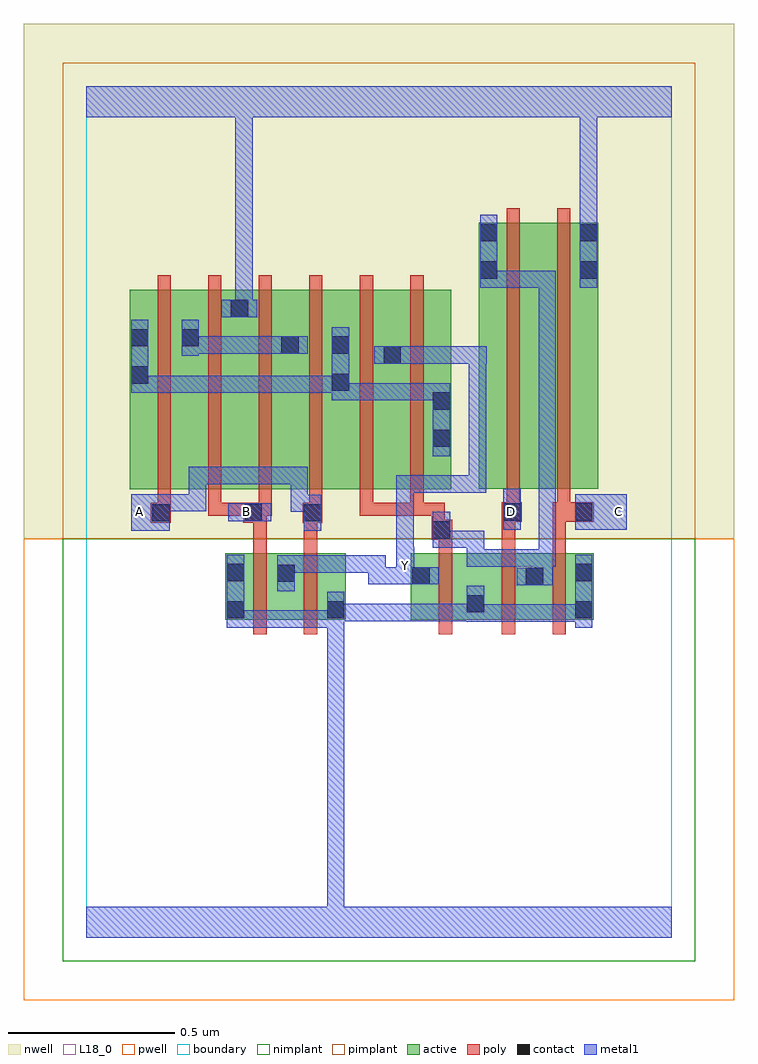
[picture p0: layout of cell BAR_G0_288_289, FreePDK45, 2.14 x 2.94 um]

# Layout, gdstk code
import gdstk
lib = gdstk.Library(unit=1e-6, precision=1e-09)
def R(c, l, rs):  # rectangles x0, y0, x1, y1
    for r in rs: c.add(gdstk.rectangle(r[:2], r[2:], *l))
def A(c, l, x, y, w, h, nx, ny, dx, dy):  # array of equal rectangles
    R(c, l, [(x+i*dx, y+j*dy, x+i*dx+w, y+j*dy+h) for i in range(nx) for j in range(ny)])
active = (1, 0)
pwell = (2, 0)
nwell = (3, 0)
nimplant = (4, 0)
pimplant = (5, 0)
poly = (9, 0)
contact = (10, 0)
metal1 = (11, 0)
L18_0 = (18, 0)
boundary = (235, 0)

bar_g0_288_289 = lib.new_cell('BAR_G0_288_289')
R(bar_g0_288_289, active, [(0.418,0.956,0.478,1.156), (0.418,0.956,0.63,1.156), (0.57,0.956,0.78,1.156), (0.57,0.956,0.63,1.126), (0.72,0.956,0.78,1.156), (0.976,0.956,1.036,1.156), (0.976,0.956,1.2,1.156), (1.14,0.956,1.2,1.156), (1.14,0.956,1.378,1.156), (1.318,0.956,1.378,1.156), (1.318,0.956,1.526,1.156), (1.466,0.956,1.526,1.156), (0.13,1.348,0.342,1.948), (0.13,1.348,0.19,1.948), (0.282,1.348,0.342,1.844), (0.282,1.348,0.49,1.948), (0.43,1.348,0.642,1.948), (0.582,1.348,0.794,1.948), (0.734,1.348,0.95,1.948), (0.89,1.348,0.95,1.844), (0.89,1.348,1.098,1.948), (1.038,1.348,1.098,1.844), (1.18,1.35,1.36,2.15), (1.36,1.35,1.54,2.15), (1.48,1.35,1.54,2.15), (0.734,1.468,0.794,1.948), (0.582,1.58,0.642,1.904), (0.43,1.59,0.49,1.948), (1.18,1.686,1.24,2.15)])
R(bar_g0_288_289, pwell, [(-0.188,-0.188,1.948,1.2)])
R(bar_g0_288_289, nwell, [(-0.188,1.2,1.948,2.748)])
R(bar_g0_288_289, nimplant, [(-0.072,-0.072,1.832,1.2)])
R(bar_g0_288_289, pimplant, [(-0.072,1.2,1.832,2.632)])
A(bar_g0_288_289, poly, 0.214, 1.268, 0.04, 0.076, 6, 1, 0.152, 0)
A(bar_g0_288_289, poly, 0.214, 1.304, 0.04, 0.688, 6, 1, 0.152, 0)
R(bar_g0_288_289, poly, [(0.502,0.912,0.542,1.2), (0.654,0.912,0.694,1.2), (1.06,0.912,1.1,1.2), (1.25,0.912,1.29,1.2), (1.402,0.912,1.442,1.2), (0.502,1.16,0.542,1.288), (0.654,1.16,0.694,1.288), (1.06,1.16,1.1,1.236), (1.25,1.16,1.29,1.29), (1.402,1.16,1.442,1.29), (1.038,1.196,1.1,1.256), (1.038,1.216,1.078,1.308), (0.194,1.248,0.254,1.308), (0.472,1.248,0.542,1.308), (0.65,1.248,0.71,1.308), (0.654,1.248,0.694,1.288), (0.654,1.248,0.694,1.288), (1.25,1.25,1.29,1.29), (1.25,1.25,1.29,1.29), (1.25,1.25,1.31,1.31), (1.402,1.25,1.526,1.31), (0.366,1.268,0.406,1.308), (0.366,1.268,0.538,1.308), (0.498,1.268,0.538,1.308), (0.498,1.268,0.538,1.308), (0.498,1.268,0.558,1.308), (0.502,1.268,0.542,1.308), (0.822,1.268,0.862,1.308), (0.822,1.268,1.014,1.308), (0.974,1.268,1.014,1.308), (0.974,1.268,1.014,1.308), (0.974,1.268,1.078,1.308), (1.264,1.27,1.304,1.346), (1.416,1.27,1.456,1.346), (1.416,1.27,1.456,1.31), (1.416,1.27,1.456,1.31), (1.264,1.306,1.304,2.194), (1.416,1.306,1.456,2.194)])
R(bar_g0_288_289, contact, [(0.422,0.96,0.474,1.012), (0.724,0.96,0.776,1.012), (1.47,0.96,1.522,1.012), (1.144,0.978,1.196,1.03), (1.322,1.06,1.374,1.112), (0.98,1.062,1.032,1.114), (0.574,1.07,0.626,1.122), (0.422,1.072,0.474,1.124), (1.47,1.072,1.522,1.124), (1.042,1.2,1.094,1.252), (0.198,1.252,0.25,1.304), (0.476,1.252,0.528,1.304), (0.654,1.252,0.706,1.304), (1.254,1.254,1.306,1.306), (1.47,1.254,1.522,1.306), (1.042,1.476,1.094,1.528), (1.042,1.588,1.094,1.64), (0.738,1.644,0.79,1.696), (0.134,1.666,0.186,1.718), (0.894,1.726,0.946,1.778), (0.586,1.756,0.638,1.808), (0.738,1.756,0.79,1.808), (0.134,1.778,0.186,1.83), (0.286,1.778,0.338,1.83), (0.434,1.866,0.486,1.918), (1.184,1.982,1.236,2.034), (1.484,1.982,1.536,2.034), (1.184,2.094,1.236,2.146), (1.484,2.094,1.536,2.146)])
R(bar_g0_288_289, metal1, [(0,0,1.76,0.092), (0.724,0.04,0.776,0.092), (0.724,0.04,0.776,0.092), (0.724,0.04,0.776,0.092), (0.724,0.04,0.776,0.092), (0.724,0.04,0.776,0.092), (0.724,0.04,0.776,0.092), (0.724,0.04,0.776,0.092), (0.724,0.04,0.776,0.092), (0.724,0.04,0.776,0.092), (0.724,0.04,0.776,0.092), (0.724,0.04,0.776,0.092), (0.724,0.04,0.776,0.092), (0.724,0.04,0.776,0.092), (0.724,0.04,0.776,0.092), (0.724,0.04,0.776,0.984), (0.422,0.932,0.474,1.152), (0.422,0.932,0.596,0.984), (0.544,0.932,0.596,0.984), (0.544,0.932,0.596,0.984), (0.544,0.932,0.596,0.984), (0.544,0.932,0.776,0.984), (0.724,0.932,0.776,0.984), (0.724,0.932,0.776,0.984), (0.724,0.932,0.776,0.984), (0.724,0.932,0.776,0.984), (0.724,0.932,0.776,1.04), (1.47,0.932,1.522,1.152), (1.144,0.95,1.196,1.058), (1.144,0.95,1.204,1.002), (1.152,0.95,1.204,1.002), (1.152,0.95,1.378,1.002), (1.326,0.95,1.378,1.002), (1.326,0.95,1.378,1.002), (1.326,0.95,1.378,1.002), (1.326,0.95,1.522,1.002), (1.47,0.95,1.522,1.002), (1.47,0.95,1.522,1.002), (0.724,0.952,0.9,1.004), (0.848,0.952,0.9,1.004), (0.848,0.952,0.9,1.004), (0.848,0.952,0.9,1.004), (0.848,0.952,1.086,1.004), (1.034,0.952,1.086,1.004), (1.034,0.952,1.196,1.004), (0.574,1.042,0.626,1.15), (1.294,1.06,1.402,1.112), (1.35,1.06,1.402,1.168), (0.848,1.062,0.986,1.114), (0.848,1.062,0.9,1.15), (0.932,1.062,0.986,1.174), (0.934,1.062,0.986,1.114), (0.934,1.062,1.06,1.114), (0.574,1.098,0.776,1.15), (0.724,1.098,0.776,1.15), (0.724,1.098,0.776,1.15), (0.724,1.098,0.776,1.15), (0.724,1.098,0.9,1.15), (1.144,1.116,1.196,1.224), (1.144,1.116,1.218,1.168), (1.166,1.116,1.218,1.168), (1.166,1.116,1.402,1.168), (1.35,1.116,1.402,1.168), (1.35,1.116,1.402,1.168), (1.35,1.116,1.412,1.168), (1.36,1.116,1.412,2.006), (0.932,1.122,0.984,1.39), (1.042,1.172,1.094,1.28), (1.042,1.172,1.196,1.224), (0.134,1.224,0.25,1.334), (0.654,1.224,0.706,1.332), (1.254,1.226,1.306,1.35), (1.47,1.226,1.626,1.334), (0.426,1.252,0.556,1.306), (0.614,1.28,0.706,1.332), (0.614,1.28,0.666,1.416), (0.198,1.282,0.296,1.334), (0.244,1.282,0.296,1.334), (0.244,1.282,0.36,1.334), (0.308,1.282,0.36,1.416), (0.932,1.338,0.984,1.39), (0.932,1.338,1.086,1.39), (1.034,1.338,1.086,1.39), (1.034,1.338,1.196,1.39), (1.144,1.338,1.196,1.39), (1.144,1.338,1.202,1.39), (1.15,1.338,1.202,1.39), (1.15,1.338,1.202,1.778), (0.308,1.364,0.462,1.416), (0.41,1.364,0.462,1.416), (0.41,1.364,0.596,1.416), (0.544,1.364,0.596,1.416), (0.544,1.364,0.666,1.416), (1.042,1.448,1.094,1.668), (0.738,1.616,0.79,1.836), (0.738,1.616,0.9,1.668), (0.848,1.616,0.9,1.668), (0.848,1.616,0.9,1.668), (0.848,1.616,0.9,1.668), (0.848,1.616,1.01,1.668), (0.958,1.616,1.01,1.668), (0.958,1.616,1.094,1.668), (0.134,1.638,0.186,1.69), (0.134,1.638,0.186,1.69), (0.134,1.638,0.186,1.858), (0.134,1.638,0.296,1.69), (0.244,1.638,0.296,1.69), (0.244,1.638,0.36,1.69), (0.308,1.638,0.36,1.69), (0.308,1.638,0.486,1.69), (0.434,1.638,0.486,1.69), (0.434,1.638,0.596,1.69), (0.544,1.638,0.596,1.69), (0.544,1.638,0.596,1.69), (0.544,1.638,0.596,1.69), (0.544,1.638,0.79,1.69), (0.738,1.638,0.79,1.69), (0.738,1.638,0.79,1.69), (0.866,1.726,0.974,1.778), (0.922,1.726,1.086,1.778), (1.034,1.726,1.086,1.778), (1.034,1.726,1.108,1.778), (1.056,1.726,1.108,1.778), (1.056,1.726,1.204,1.778), (1.15,1.726,1.204,1.778), (1.152,1.726,1.204,1.778), (1.152,1.726,1.204,1.778), (0.286,1.75,0.338,1.858), (0.286,1.756,0.368,1.808), (0.316,1.756,0.368,1.808), (0.316,1.756,0.462,1.808), (0.41,1.756,0.462,1.808), (0.41,1.756,0.596,1.808), (0.544,1.756,0.596,1.808), (0.544,1.756,0.61,1.808), (0.558,1.756,0.666,1.808), (0.406,1.866,0.514,1.918), (0.448,1.866,0.5,1.918), (0.448,1.866,0.5,1.918), (0.448,1.866,0.5,1.918), (0.448,1.866,0.5,1.918), (0.448,1.866,0.5,1.918), (0.448,1.866,0.5,1.918), (0.448,1.866,0.5,1.918), (0.448,1.866,0.5,1.918), (0.448,1.866,0.5,2.52), (1.184,1.954,1.236,2.174), (1.184,1.954,1.412,2.006), (1.36,1.954,1.412,2.006), (1.36,1.954,1.412,2.006), (1.36,1.954,1.412,2.006), (1.36,1.954,1.412,2.006), (1.36,1.954,1.412,2.006), (1.36,1.954,1.412,2.006), (1.36,1.954,1.412,2.006), (1.36,1.954,1.412,2.006), (1.36,1.954,1.412,2.006), (1.484,1.954,1.536,2.174), (1.484,2.122,1.536,2.52), (1.484,2.122,1.536,2.174), (1.484,2.122,1.536,2.174), (1.484,2.122,1.536,2.174), (1.484,2.122,1.536,2.174), (1.484,2.122,1.536,2.174), (1.484,2.122,1.536,2.174), (0,2.468,1.76,2.56), (0.448,2.468,0.5,2.52), (0.448,2.468,0.5,2.52), (0.448,2.468,0.5,2.52), (0.448,2.468,0.5,2.52), (1.484,2.468,1.536,2.52), (1.484,2.468,1.536,2.52)])
R(bar_g0_288_289, L18_0, [(0,0,1.76,0.092), (0.724,0.04,0.776,0.092), (0.724,0.04,0.776,0.092), (0.724,0.04,0.776,0.092), (0.724,0.04,0.776,0.092), (0.724,0.04,0.776,0.092), (0.724,0.04,0.776,0.092), (0.724,0.04,0.776,0.092), (0.724,0.04,0.776,0.092), (0.724,0.04,0.776,0.092), (0.724,0.04,0.776,0.092), (0.724,0.04,0.776,0.092), (0.724,0.04,0.776,0.092), (0.724,0.04,0.776,0.092), (0.724,0.04,0.776,0.092), (0.724,0.04,0.776,0.984), (0.422,0.932,0.474,1.152), (0.422,0.932,0.596,0.984), (0.544,0.932,0.596,0.984), (0.544,0.932,0.596,0.984), (0.544,0.932,0.596,0.984), (0.544,0.932,0.776,0.984), (0.724,0.932,0.776,0.984), (0.724,0.932,0.776,0.984), (0.724,0.932,0.776,0.984), (0.724,0.932,0.776,0.984), (0.724,0.932,0.776,1.04), (1.47,0.932,1.522,1.152), (1.144,0.95,1.196,1.058), (1.144,0.95,1.204,1.002), (1.152,0.95,1.204,1.002), (1.152,0.95,1.378,1.002), (1.326,0.95,1.378,1.002), (1.326,0.95,1.378,1.002), (1.326,0.95,1.378,1.002), (1.326,0.95,1.522,1.002), (1.47,0.95,1.522,1.002), (1.47,0.95,1.522,1.002), (0.724,0.952,0.9,1.004), (0.848,0.952,0.9,1.004), (0.848,0.952,0.9,1.004), (0.848,0.952,0.9,1.004), (0.848,0.952,1.086,1.004), (1.034,0.952,1.086,1.004), (1.034,0.952,1.196,1.004), (0.574,1.042,0.626,1.15), (0.848,1.062,0.9,1.15), (0.848,1.062,0.986,1.114), (0.932,1.062,0.986,1.174), (0.934,1.062,0.986,1.114), (0.934,1.062,1.06,1.114), (0.934,1.094,0.986,1.146), (0.574,1.098,0.776,1.15), (0.724,1.098,0.776,1.15), (0.724,1.098,0.776,1.15), (0.724,1.098,0.776,1.15), (0.724,1.098,0.9,1.15), (0.932,1.122,0.984,1.39), (0.134,1.224,0.25,1.334), (0.654,1.224,0.706,1.332), (1.254,1.226,1.306,1.35), (1.47,1.226,1.626,1.334), (0.426,1.252,0.556,1.306), (0.134,1.254,0.186,1.306), (0.454,1.254,0.506,1.306), (1.254,1.254,1.306,1.306), (1.574,1.254,1.626,1.306), (0.614,1.28,0.666,1.416), (0.614,1.28,0.706,1.332), (0.198,1.282,0.296,1.334), (0.244,1.282,0.296,1.334), (0.244,1.282,0.36,1.334), (0.308,1.282,0.36,1.416), (0.932,1.338,0.984,1.39), (0.932,1.338,1.086,1.39), (1.034,1.338,1.086,1.39), (1.034,1.338,1.196,1.39), (1.144,1.338,1.196,1.39), (1.144,1.338,1.202,1.39), (1.15,1.338,1.202,1.39), (1.15,1.338,1.202,1.778), (0.308,1.364,0.462,1.416), (0.41,1.364,0.462,1.416), (0.41,1.364,0.596,1.416), (0.544,1.364,0.596,1.416), (0.544,1.364,0.666,1.416), (0.866,1.726,0.974,1.778), (0.922,1.726,1.086,1.778), (1.034,1.726,1.086,1.778), (1.034,1.726,1.108,1.778), (1.056,1.726,1.108,1.778), (1.056,1.726,1.204,1.778), (1.15,1.726,1.204,1.778), (1.152,1.726,1.204,1.778), (1.152,1.726,1.204,1.778), (0.406,1.866,0.514,1.918), (0.448,1.866,0.5,1.918), (0.448,1.866,0.5,1.918), (0.448,1.866,0.5,1.918), (0.448,1.866,0.5,1.918), (0.448,1.866,0.5,1.918), (0.448,1.866,0.5,1.918), (0.448,1.866,0.5,1.918), (0.448,1.866,0.5,1.918), (0.448,1.866,0.5,2.52), (1.484,1.954,1.536,2.174), (1.484,2.122,1.536,2.174), (1.484,2.122,1.536,2.174), (1.484,2.122,1.536,2.174), (1.484,2.122,1.536,2.174), (1.484,2.122,1.536,2.174), (1.484,2.122,1.536,2.174), (1.484,2.122,1.536,2.52), (0,2.468,1.76,2.56), (0.448,2.468,0.5,2.52), (0.448,2.468,0.5,2.52), (0.448,2.468,0.5,2.52), (0.448,2.468,0.5,2.52), (1.484,2.468,1.536,2.52), (1.484,2.468,1.536,2.52)])
R(bar_g0_288_289, boundary, [(0,0,1.76,2.56)])
bar_g0_288_289.add(gdstk.Label('A', (0.16,1.28), layer=11, texttype=0))
bar_g0_288_289.add(gdstk.Label('B', (0.48,1.28), layer=11, texttype=0))
bar_g0_288_289.add(gdstk.Label('C', (1.6,1.28), layer=11, texttype=0))
bar_g0_288_289.add(gdstk.Label('D', (1.28,1.28), layer=11, texttype=0))
bar_g0_288_289.add(gdstk.Label('Y', (0.96,1.12), layer=11, texttype=0))

lib.write_gds('BAR_G0_288_289.gds')
